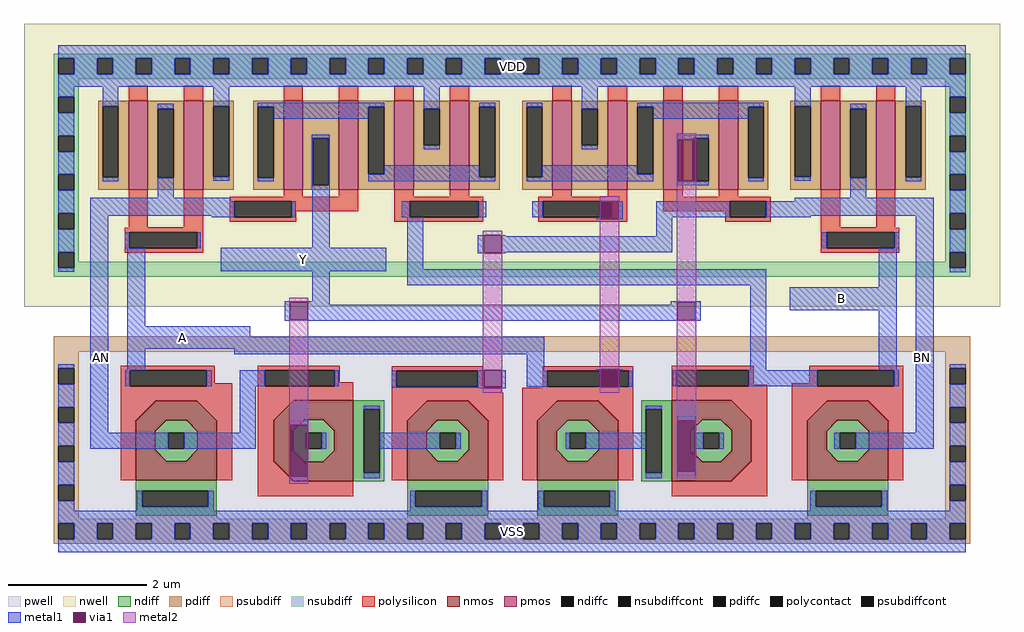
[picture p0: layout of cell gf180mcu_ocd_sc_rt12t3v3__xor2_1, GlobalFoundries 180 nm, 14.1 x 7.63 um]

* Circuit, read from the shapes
.subckt gf180mcu_ocd_sc_rt12t3v3__xor2_1 A B Y VDD VSS
XM1 AN A VSS VSS nfet_03v3 w=1.785u l=0.5341u
XM2 Y AN n1 VSS nfet_03v3 w=1.785u l=0.526u
XM3 n1 BN VSS VSS nfet_03v3 w=1.775u l=0.5425u
XM4 n2 A VSS VSS nfet_03v3 w=1.785u l=0.5301u
XM5 Y B n2 VSS nfet_03v3 w=1.785u l=0.539u
XM6 BN B VSS VSS nfet_03v3 w=1.785u l=0.5303u
XM7 AN A VDD VDD pfet_03v3 w=1.285u l=0.28u m=2
XM8 Y AN n3 VDD pfet_03v3 w=1.285u l=0.28u m=2
XM9 VDD B n3 VDD pfet_03v3 w=1.285u l=0.28u m=2
XM10 VDD A n4 VDD pfet_03v3 w=1.285u l=0.28u m=2
XM11 Y BN n4 VDD pfet_03v3 w=1.285u l=0.28u m=2
XM12 BN B VDD VDD pfet_03v3 w=1.285u l=0.28u m=2
.ends

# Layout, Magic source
magic
tech gf180mcuD
magscale 1 10
<< nwell >>
rect -122 649 2698 1466
<< pwell >>
rect -36 -36 2612 563
<< nmos >>
tri 201 319 259 377 se
rect 259 321 377 377
rect 259 319 287 321
tri 287 319 289 321 nw
tri 347 319 349 321 ne
rect 349 319 377 321
tri 377 319 435 377 sw
rect 201 203 257 319
tri 257 289 287 319 nw
tri 349 289 379 319 ne
tri 257 203 289 235 sw
tri 347 203 379 235 se
rect 379 203 435 319
rect 201 147 435 203
tri 600 321 658 379 se
rect 658 323 830 379
rect 600 293 658 321
tri 658 293 688 323 nw
rect 600 231 656 293
tri 656 291 658 293 nw
tri 742 291 774 323 ne
tri 656 231 658 233 sw
rect 600 203 658 231
tri 600 145 658 203 ne
tri 658 201 688 231 sw
tri 742 201 774 233 se
rect 774 201 830 323
rect 658 145 830 201
tri 985 319 1043 377 se
rect 1043 321 1161 377
rect 1043 319 1071 321
tri 1071 319 1073 321 nw
tri 1131 319 1133 321 ne
rect 1133 319 1161 321
tri 1161 319 1219 377 sw
rect 985 203 1041 319
tri 1041 289 1071 319 nw
tri 1133 289 1163 319 ne
tri 1041 203 1073 235 sw
tri 1131 203 1163 235 se
rect 1163 203 1219 319
rect 985 147 1219 203
tri 1363 321 1419 377 se
rect 1419 321 1537 377
tri 1361 319 1363 321 se
rect 1363 319 1417 321
rect 1361 203 1417 319
tri 1417 289 1449 321 nw
tri 1507 319 1509 321 ne
rect 1509 319 1537 321
tri 1537 319 1595 377 sw
tri 1509 289 1539 319 ne
tri 1417 203 1449 235 sw
tri 1507 203 1539 235 se
rect 1539 203 1595 319
rect 1361 147 1595 203
rect 1749 323 1921 379
rect 1749 201 1805 323
tri 1805 291 1837 323 nw
tri 1891 293 1921 323 ne
tri 1921 321 1979 379 sw
rect 1921 293 1979 321
tri 1921 291 1923 293 ne
tri 1805 201 1837 233 sw
tri 1921 231 1923 233 se
rect 1923 231 1979 293
tri 1891 201 1921 231 se
rect 1921 203 1979 231
rect 1749 145 1921 201
tri 1921 145 1979 203 nw
tri 2141 319 2199 377 se
rect 2199 321 2317 377
rect 2199 319 2227 321
tri 2227 319 2229 321 nw
tri 2287 319 2289 321 ne
rect 2289 319 2317 321
tri 2317 319 2375 377 sw
rect 2141 203 2197 319
tri 2197 289 2227 319 nw
tri 2289 289 2319 319 ne
tri 2197 203 2229 235 sw
tri 2287 203 2319 235 se
rect 2319 203 2375 319
rect 2141 147 2375 203
<< pmos >>
rect 180 987 236 1244
rect 340 987 396 1244
rect 628 987 684 1244
rect 788 987 844 1244
rect 948 987 1004 1244
rect 1108 987 1164 1244
rect 1405 987 1461 1244
rect 1565 987 1621 1244
rect 1725 987 1781 1244
rect 1885 987 1941 1244
rect 2180 987 2236 1244
rect 2340 987 2396 1244
<< ndiff >>
tri 287 319 289 321 se
rect 289 319 347 321
tri 347 319 349 321 sw
tri 257 289 287 319 se
rect 287 289 349 319
tri 349 289 379 319 sw
rect 257 285 379 289
rect 257 239 295 285
rect 341 239 379 285
rect 257 235 379 239
tri 257 203 289 235 ne
rect 289 203 347 235
tri 347 203 379 235 nw
rect 201 117 435 147
rect 201 71 220 117
rect 411 71 435 117
rect 830 352 919 379
tri 658 293 688 323 se
rect 688 293 742 323
tri 656 291 658 293 se
rect 658 291 742 293
tri 742 291 774 323 sw
rect 656 285 774 291
rect 656 239 692 285
rect 738 239 774 285
rect 656 233 774 239
tri 656 231 658 233 ne
rect 658 231 742 233
tri 658 201 688 231 ne
rect 688 201 742 231
tri 742 201 774 233 nw
rect 830 169 860 352
rect 906 169 919 352
rect 830 145 919 169
tri 1071 319 1073 321 se
rect 1073 319 1131 321
tri 1131 319 1133 321 sw
tri 1041 289 1071 319 se
rect 1071 289 1133 319
tri 1133 289 1163 319 sw
rect 1041 285 1163 289
rect 1041 239 1079 285
rect 1125 239 1163 285
rect 1041 235 1163 239
tri 1041 203 1073 235 ne
rect 1073 203 1131 235
tri 1131 203 1163 235 nw
tri 1417 289 1449 321 se
rect 1449 319 1507 321
tri 1507 319 1509 321 sw
rect 1449 289 1509 319
tri 1509 289 1539 319 sw
rect 1417 285 1539 289
rect 1417 239 1455 285
rect 1501 239 1539 285
rect 1417 235 1539 239
tri 1417 203 1449 235 ne
rect 1449 203 1507 235
tri 1507 203 1539 235 nw
rect 1661 352 1749 379
rect 1661 169 1674 352
rect 1720 169 1749 352
tri 1805 291 1837 323 se
rect 1837 293 1891 323
tri 1891 293 1921 323 sw
rect 1837 291 1921 293
tri 1921 291 1923 293 sw
rect 1805 285 1923 291
rect 1805 239 1841 285
rect 1887 239 1923 285
rect 1805 233 1923 239
tri 1805 201 1837 233 ne
rect 1837 231 1921 233
tri 1921 231 1923 233 nw
rect 1837 201 1891 231
tri 1891 201 1921 231 nw
rect 985 117 1219 147
rect 201 47 435 71
rect 985 71 1009 117
rect 1200 71 1219 117
rect 985 47 1219 71
rect 1361 117 1595 147
rect 1661 145 1749 169
tri 2227 319 2229 321 se
rect 2229 319 2287 321
tri 2287 319 2289 321 sw
tri 2197 289 2227 319 se
rect 2227 289 2289 319
tri 2289 289 2319 319 sw
rect 2197 285 2319 289
rect 2197 239 2235 285
rect 2281 239 2319 285
rect 2197 235 2319 239
tri 2197 203 2229 235 ne
rect 2229 203 2287 235
tri 2287 203 2319 235 nw
rect 1361 71 1380 117
rect 1571 71 1595 117
rect 2141 117 2375 147
rect 1361 47 1595 71
rect 2141 71 2165 117
rect 2356 71 2375 117
rect 2141 47 2375 71
<< pdiff >>
rect 92 1228 180 1244
rect 92 1023 105 1228
rect 151 1023 180 1228
rect 92 987 180 1023
rect 236 1221 340 1244
rect 236 1022 265 1221
rect 311 1022 340 1221
rect 236 987 340 1022
rect 396 1228 484 1244
rect 396 1024 425 1228
rect 471 1024 484 1228
rect 396 987 484 1024
rect 540 1227 628 1244
rect 540 1022 553 1227
rect 599 1022 628 1227
rect 540 987 628 1022
rect 684 1135 788 1244
rect 684 1000 713 1135
rect 759 1000 788 1135
rect 684 987 788 1000
rect 844 1227 948 1244
rect 844 1032 873 1227
rect 919 1032 948 1227
rect 844 987 948 1032
rect 1004 1221 1108 1244
rect 1004 1115 1033 1221
rect 1079 1115 1108 1221
rect 1004 987 1108 1115
rect 1164 1227 1252 1244
rect 1164 1023 1193 1227
rect 1239 1023 1252 1227
rect 1164 987 1252 1023
rect 1317 1227 1405 1244
rect 1317 1023 1330 1227
rect 1376 1023 1405 1227
rect 1317 987 1405 1023
rect 1461 1221 1565 1244
rect 1461 1115 1490 1221
rect 1536 1115 1565 1221
rect 1461 987 1565 1115
rect 1621 1227 1725 1244
rect 1621 1032 1650 1227
rect 1696 1032 1725 1227
rect 1621 987 1725 1032
rect 1781 1135 1885 1244
rect 1781 1012 1810 1135
rect 1856 1012 1885 1135
rect 1781 987 1885 1012
rect 1941 1227 2029 1244
rect 1941 1022 1970 1227
rect 2016 1022 2029 1227
rect 1941 987 2029 1022
rect 2092 1228 2180 1244
rect 2092 1024 2105 1228
rect 2151 1024 2180 1228
rect 2092 987 2180 1024
rect 2236 1221 2340 1244
rect 2236 1022 2265 1221
rect 2311 1022 2340 1221
rect 2236 987 2340 1022
rect 2396 1228 2484 1244
rect 2396 1023 2425 1228
rect 2471 1023 2484 1228
rect 2396 987 2484 1023
<< ndiffc >>
rect 295 239 341 285
rect 220 71 411 117
rect 692 239 738 285
rect 860 169 906 352
rect 1079 239 1125 285
rect 1455 239 1501 285
rect 1674 169 1720 352
rect 1841 239 1887 285
rect 1009 71 1200 117
rect 2235 239 2281 285
rect 1380 71 1571 117
rect 2165 71 2356 117
<< pdiffc >>
rect 105 1023 151 1228
rect 265 1022 311 1221
rect 425 1024 471 1228
rect 553 1022 599 1227
rect 713 1000 759 1135
rect 873 1032 919 1227
rect 1033 1115 1079 1221
rect 1193 1023 1239 1227
rect 1330 1023 1376 1227
rect 1490 1115 1536 1221
rect 1650 1032 1696 1227
rect 1810 1012 1856 1135
rect 1970 1022 2016 1227
rect 2105 1024 2151 1228
rect 2265 1022 2311 1221
rect 2425 1023 2471 1228
<< psubdiff >>
rect -36 519 2612 563
rect -36 471 36 519
rect -36 425 -23 471
rect 23 425 36 471
rect -36 359 36 425
rect -36 313 -23 359
rect 23 313 36 359
rect -36 247 36 313
rect -36 201 -23 247
rect 23 201 36 247
rect -36 135 36 201
rect -36 89 -23 135
rect 23 89 36 135
rect -36 36 36 89
rect 201 36 435 47
rect 985 36 1219 47
rect 2540 471 2612 519
rect 2540 425 2553 471
rect 2599 425 2612 471
rect 2540 359 2612 425
rect 2540 313 2553 359
rect 2599 313 2612 359
rect 2540 247 2612 313
rect 2540 201 2553 247
rect 2599 201 2612 247
rect 1361 36 1595 47
rect 2141 36 2375 47
rect 2540 135 2612 201
rect 2540 89 2553 135
rect 2599 89 2612 135
rect 2540 36 2612 89
rect -36 23 2612 36
rect -36 -23 -23 23
rect 23 -23 89 23
rect 135 -23 201 23
rect 247 -23 313 23
rect 359 -23 425 23
rect 471 -23 537 23
rect 583 -23 649 23
rect 695 -23 761 23
rect 807 -23 873 23
rect 919 -23 985 23
rect 1031 -23 1097 23
rect 1143 -23 1209 23
rect 1255 -23 1321 23
rect 1367 -23 1433 23
rect 1479 -23 1545 23
rect 1591 -23 1657 23
rect 1703 -23 1769 23
rect 1815 -23 1881 23
rect 1927 -23 1993 23
rect 2039 -23 2105 23
rect 2151 -23 2217 23
rect 2263 -23 2329 23
rect 2375 -23 2441 23
rect 2487 -23 2553 23
rect 2599 -23 2612 23
rect -36 -36 2612 -23
<< nsubdiff >>
rect -36 1367 2612 1380
rect -36 1321 -23 1367
rect 23 1321 89 1367
rect 135 1321 201 1367
rect 247 1321 313 1367
rect 359 1321 425 1367
rect 471 1321 537 1367
rect 583 1321 649 1367
rect 695 1321 761 1367
rect 807 1321 873 1367
rect 919 1321 985 1367
rect 1031 1321 1097 1367
rect 1143 1321 1209 1367
rect 1255 1321 1321 1367
rect 1367 1321 1433 1367
rect 1479 1321 1545 1367
rect 1591 1321 1657 1367
rect 1703 1321 1769 1367
rect 1815 1321 1881 1367
rect 1927 1321 1993 1367
rect 2039 1321 2105 1367
rect 2151 1321 2217 1367
rect 2263 1321 2329 1367
rect 2375 1321 2441 1367
rect 2487 1321 2553 1367
rect 2599 1321 2612 1367
rect -36 1308 2612 1321
rect -36 1255 36 1308
rect -36 1209 -23 1255
rect 23 1209 36 1255
rect 2540 1255 2612 1308
rect -36 1143 36 1209
rect -36 1097 -23 1143
rect 23 1097 36 1143
rect -36 1031 36 1097
rect -36 985 -23 1031
rect 23 985 36 1031
rect 2540 1209 2553 1255
rect 2599 1209 2612 1255
rect 2540 1143 2612 1209
rect 2540 1097 2553 1143
rect 2599 1097 2612 1143
rect 2540 1031 2612 1097
rect -36 919 36 985
rect -36 873 -23 919
rect 23 873 36 919
rect -36 807 36 873
rect -36 761 -23 807
rect 23 779 36 807
rect 2540 985 2553 1031
rect 2599 985 2612 1031
rect 2540 919 2612 985
rect 2540 873 2553 919
rect 2599 873 2612 919
rect 2540 807 2612 873
rect 2540 779 2553 807
rect 23 761 2553 779
rect 2599 761 2612 807
rect -36 735 2612 761
<< psubdiffcont >>
rect -23 425 23 471
rect -23 313 23 359
rect -23 201 23 247
rect -23 89 23 135
rect 2553 425 2599 471
rect 2553 313 2599 359
rect 2553 201 2599 247
rect 2553 89 2599 135
rect -23 -23 23 23
rect 89 -23 135 23
rect 201 -23 247 23
rect 313 -23 359 23
rect 425 -23 471 23
rect 537 -23 583 23
rect 649 -23 695 23
rect 761 -23 807 23
rect 873 -23 919 23
rect 985 -23 1031 23
rect 1097 -23 1143 23
rect 1209 -23 1255 23
rect 1321 -23 1367 23
rect 1433 -23 1479 23
rect 1545 -23 1591 23
rect 1657 -23 1703 23
rect 1769 -23 1815 23
rect 1881 -23 1927 23
rect 1993 -23 2039 23
rect 2105 -23 2151 23
rect 2217 -23 2263 23
rect 2329 -23 2375 23
rect 2441 -23 2487 23
rect 2553 -23 2599 23
<< nsubdiffcont >>
rect -23 1321 23 1367
rect 89 1321 135 1367
rect 201 1321 247 1367
rect 313 1321 359 1367
rect 425 1321 471 1367
rect 537 1321 583 1367
rect 649 1321 695 1367
rect 761 1321 807 1367
rect 873 1321 919 1367
rect 985 1321 1031 1367
rect 1097 1321 1143 1367
rect 1209 1321 1255 1367
rect 1321 1321 1367 1367
rect 1433 1321 1479 1367
rect 1545 1321 1591 1367
rect 1657 1321 1703 1367
rect 1769 1321 1815 1367
rect 1881 1321 1927 1367
rect 1993 1321 2039 1367
rect 2105 1321 2151 1367
rect 2217 1321 2263 1367
rect 2329 1321 2375 1367
rect 2441 1321 2487 1367
rect 2553 1321 2599 1367
rect -23 1209 23 1255
rect -23 1097 23 1143
rect -23 985 23 1031
rect 2553 1209 2599 1255
rect 2553 1097 2599 1143
rect -23 873 23 919
rect -23 761 23 807
rect 2553 985 2599 1031
rect 2553 873 2599 919
rect 2553 761 2599 807
<< polysilicon >>
rect 180 1244 236 1288
rect 340 1244 396 1288
rect 628 1244 684 1288
rect 788 1244 844 1288
rect 948 1244 1004 1288
rect 1108 1244 1164 1288
rect 1405 1244 1461 1288
rect 1565 1244 1621 1288
rect 1725 1244 1781 1288
rect 1885 1244 1941 1288
rect 2180 1244 2236 1288
rect 2340 1244 2396 1288
rect 180 878 236 987
rect 340 878 396 987
rect 628 967 684 987
rect 788 967 844 987
rect 473 954 844 967
rect 473 908 486 954
rect 652 925 844 954
rect 948 967 1004 987
rect 1108 967 1164 987
rect 1405 967 1461 987
rect 1565 967 1621 987
rect 948 954 1205 967
rect 652 908 665 925
rect 473 895 665 908
rect 948 908 993 954
rect 1192 908 1205 954
rect 948 895 1205 908
rect 1364 954 1621 967
rect 1364 908 1377 954
rect 1576 908 1621 954
rect 1725 967 1781 987
rect 1885 967 1941 987
rect 1725 954 2036 967
rect 1725 925 1917 954
rect 1364 895 1621 908
rect 1904 908 1917 925
rect 2023 908 2036 954
rect 1904 895 2036 908
rect 180 877 396 878
rect 169 864 396 877
rect 169 818 182 864
rect 378 818 396 864
rect 169 805 396 818
rect 2180 878 2236 987
rect 2340 878 2396 987
rect 2180 877 2396 878
rect 2180 864 2407 877
rect 2180 818 2198 864
rect 2394 818 2407 864
rect 2180 805 2407 818
rect 157 465 429 478
rect 157 419 184 465
rect 406 428 429 465
rect 553 465 790 478
rect 406 419 479 428
rect 157 377 479 419
rect 157 147 201 377
tri 201 319 259 377 nw
tri 377 319 435 377 ne
rect 435 147 479 377
rect 553 419 574 465
rect 776 430 790 465
rect 941 464 1203 477
rect 776 419 830 430
rect 553 379 830 419
rect 941 418 954 464
rect 1189 419 1203 464
rect 1377 464 1639 477
rect 1189 418 1257 419
rect 941 400 1257 418
rect 1377 418 1390 464
rect 1626 418 1639 464
rect 1377 415 1639 418
rect 553 145 600 379
tri 600 321 658 379 nw
tri 600 145 658 203 sw
rect 941 377 1263 400
rect 941 147 985 377
tri 985 319 1043 377 nw
tri 1161 319 1219 377 ne
rect 1219 147 1263 377
rect 1317 377 1639 415
rect 1749 465 1986 478
rect 1749 419 1763 465
rect 1972 423 1986 465
rect 2147 465 2419 478
rect 2147 428 2170 465
rect 1972 419 2026 423
rect 1749 379 2026 419
rect 1317 321 1363 377
tri 1363 321 1419 377 nw
rect 1317 147 1361 321
tri 1361 319 1363 321 nw
tri 1537 319 1595 377 ne
rect 1595 147 1639 377
tri 1921 321 1979 379 ne
rect 553 101 830 145
tri 1921 145 1979 203 se
rect 1979 145 2026 379
rect 2097 419 2170 428
rect 2392 419 2419 465
rect 2097 377 2419 419
rect 2097 147 2141 377
tri 2141 319 2199 377 nw
tri 2317 319 2375 377 ne
rect 2375 147 2419 377
rect 1749 101 2026 145
<< polycontact >>
rect 486 908 652 954
rect 993 908 1192 954
rect 1377 908 1576 954
rect 1917 908 2023 954
rect 182 818 378 864
rect 2198 818 2394 864
rect 184 419 406 465
rect 574 419 776 465
rect 954 418 1189 464
rect 1390 418 1626 464
rect 1763 419 1972 465
rect 2170 419 2392 465
<< metal1 >>
rect -23 1367 2599 1404
rect 23 1321 89 1367
rect 135 1321 201 1367
rect 247 1321 313 1367
rect 359 1321 425 1367
rect 471 1321 537 1367
rect 583 1321 649 1367
rect 695 1321 761 1367
rect 807 1321 873 1367
rect 919 1321 985 1367
rect 1031 1321 1097 1367
rect 1143 1321 1209 1367
rect 1255 1321 1321 1367
rect 1367 1321 1433 1367
rect 1479 1321 1545 1367
rect 1591 1321 1657 1367
rect 1703 1321 1769 1367
rect 1815 1321 1881 1367
rect 1927 1321 1993 1367
rect 2039 1321 2105 1367
rect 2151 1321 2217 1367
rect 2263 1321 2329 1367
rect 2375 1321 2441 1367
rect 2487 1321 2553 1367
rect -23 1284 2599 1321
rect -23 1255 23 1284
rect -23 1143 23 1209
rect -23 1031 23 1097
rect 105 1228 151 1284
rect 105 1012 151 1023
rect 265 1221 311 1236
rect -23 919 23 985
rect 265 964 311 1022
rect 425 1228 471 1284
rect 425 1013 471 1024
rect 553 1227 919 1238
rect 599 1192 873 1227
rect 553 1011 599 1022
rect 710 1135 762 1146
rect 710 1000 713 1135
rect 759 1000 762 1135
rect 1033 1221 1079 1284
rect 1033 1104 1079 1115
rect 1193 1227 1239 1238
rect 919 1032 1193 1058
rect 873 1023 1193 1032
rect 873 1012 1239 1023
rect 1330 1227 1376 1238
rect 1490 1221 1536 1284
rect 1490 1104 1536 1115
rect 1650 1227 2016 1238
rect 1376 1032 1650 1058
rect 1696 1192 1970 1227
rect 1376 1023 1696 1032
rect 1330 1012 1696 1023
rect 1766 1135 1856 1146
rect 1766 1133 1810 1135
rect 1766 1000 1856 1012
rect 1970 1011 2016 1022
rect 2105 1228 2151 1284
rect 2105 1013 2151 1024
rect 2265 1221 2311 1236
rect 710 989 762 1000
rect -23 807 23 873
rect -23 750 23 761
rect 69 954 476 964
rect 69 912 486 954
rect -23 471 23 482
rect -23 359 23 425
rect -23 247 23 313
rect 69 285 121 912
rect 420 908 486 912
rect 652 908 663 954
rect 169 818 182 864
rect 378 818 389 864
rect 711 819 762 989
rect 2265 964 2311 1022
rect 2425 1228 2471 1284
rect 2425 1012 2471 1023
rect 2553 1255 2599 1284
rect 2553 1143 2599 1209
rect 2553 1031 2599 1097
rect 2105 954 2507 964
rect 970 908 993 954
rect 1192 908 1214 954
rect 1347 908 1377 954
rect 176 593 228 818
rect 447 752 925 819
rect 986 757 1032 908
rect 1532 902 1544 908
rect 1596 902 1608 954
rect 1705 908 1917 954
rect 2023 912 2507 954
rect 2023 908 2151 912
rect 1189 804 1206 856
rect 1258 853 1270 856
rect 1705 853 1751 908
rect 1258 807 1751 853
rect 2181 818 2198 864
rect 2394 818 2407 864
rect 1258 804 1270 807
rect 711 665 762 752
rect 986 711 2023 757
rect 632 663 762 665
rect 632 611 646 663
rect 698 654 762 663
rect 1746 662 1833 664
rect 1746 654 1766 662
rect 698 611 1766 654
rect 632 610 1766 611
rect 1818 610 1833 662
rect 632 608 1833 610
rect 176 562 532 593
rect 176 527 1381 562
rect 176 465 228 527
rect 486 511 1381 527
rect 170 419 184 465
rect 406 419 421 465
rect 502 419 574 465
rect 776 419 788 465
rect 1194 464 1206 465
rect 502 285 548 419
rect 941 418 954 464
rect 1189 418 1206 464
rect 941 415 1206 418
rect 1194 413 1206 415
rect 1258 413 1270 465
rect 1331 464 1381 511
rect 1532 464 1544 468
rect 1596 464 1608 468
rect 1977 465 2023 711
rect 2348 705 2400 818
rect 2090 639 2400 705
rect 2348 465 2400 639
rect 1331 418 1390 464
rect 1626 418 1637 464
rect 1752 419 1763 465
rect 1972 419 2170 465
rect 2392 419 2406 465
rect 1532 416 1544 418
rect 1596 416 1608 418
rect 860 352 906 363
rect 69 239 295 285
rect 341 239 548 285
rect 646 308 698 320
rect 738 239 752 285
rect -23 135 23 201
rect 646 146 698 158
rect 1674 352 1720 363
rect 906 239 1079 285
rect 1125 239 1140 285
rect 1444 239 1455 285
rect 1501 239 1674 285
rect 860 154 906 169
rect 1674 154 1720 169
rect 1766 321 1818 333
rect 2455 285 2507 912
rect 2553 919 2599 985
rect 2553 807 2599 873
rect 2553 749 2599 761
rect 1818 239 1841 285
rect 1887 239 1900 285
rect 2219 239 2235 285
rect 2281 239 2507 285
rect 2553 471 2599 482
rect 2553 359 2599 425
rect 2553 247 2599 313
rect 1766 160 1818 172
rect 2553 135 2599 201
rect -23 60 23 89
rect 204 71 220 117
rect 411 71 426 117
rect 204 60 426 71
rect 994 71 1009 117
rect 1200 71 1216 117
rect 994 60 1216 71
rect 1364 71 1380 117
rect 1571 71 1586 117
rect 1364 60 1586 71
rect 2150 71 2165 117
rect 2356 71 2372 117
rect 2150 60 2372 71
rect 2553 60 2599 89
rect -23 23 2599 60
rect 23 -23 89 23
rect 135 -23 201 23
rect 247 -23 313 23
rect 359 -23 425 23
rect 471 -23 537 23
rect 583 -23 649 23
rect 695 -23 761 23
rect 807 -23 873 23
rect 919 -23 985 23
rect 1031 -23 1097 23
rect 1143 -23 1209 23
rect 1255 -23 1321 23
rect 1367 -23 1433 23
rect 1479 -23 1545 23
rect 1591 -23 1657 23
rect 1703 -23 1769 23
rect 1815 -23 1881 23
rect 1927 -23 1993 23
rect 2039 -23 2105 23
rect 2151 -23 2217 23
rect 2263 -23 2329 23
rect 2375 -23 2441 23
rect 2487 -23 2553 23
rect -23 -60 2599 -23
<< via1 >>
rect 1766 1012 1810 1133
rect 1810 1012 1818 1133
rect 1544 908 1576 954
rect 1576 908 1596 954
rect 1544 902 1596 908
rect 1206 804 1258 856
rect 646 611 698 663
rect 1766 610 1818 662
rect 1206 413 1258 465
rect 1544 464 1596 468
rect 1544 418 1596 464
rect 1544 416 1596 418
rect 646 285 698 308
rect 646 239 692 285
rect 692 239 698 285
rect 646 158 698 239
rect 1766 172 1818 321
<< metal2 >>
rect 1764 1133 1820 1150
rect 1764 1012 1766 1133
rect 1818 1012 1820 1133
rect 1542 954 1598 968
rect 1542 902 1544 954
rect 1596 902 1598 954
rect 1204 856 1260 868
rect 1204 804 1206 856
rect 1258 804 1260 856
rect 644 663 700 675
rect 644 611 646 663
rect 698 611 700 663
rect 644 308 700 611
rect 1204 465 1260 804
rect 1204 413 1206 465
rect 1258 413 1260 465
rect 1204 401 1260 413
rect 1542 468 1598 902
rect 1542 416 1544 468
rect 1596 416 1598 468
rect 1542 400 1598 416
rect 1764 662 1820 1012
rect 1764 610 1766 662
rect 1818 610 1820 662
rect 644 158 646 308
rect 698 158 700 308
rect 644 138 700 158
rect 1764 321 1820 610
rect 1764 172 1766 321
rect 1818 172 1820 321
rect 1764 154 1820 172
<< labels >>
flabel metal1 s 0 1284 2576 1404 0 FreeSans 400 180 0 0 VDD
port 4 nsew power bidirectional abutment
flabel metal1 s 0 -60 2576 60 0 FreeSans 400 180 0 0 VSS
port 5 nsew ground bidirectional abutment
flabel metal1 2475 502 2475 502 0 FreeSans 320 90 0 0 BN
flabel metal1 101 502 101 502 0 FreeSans 320 90 0 0 AN
flabel metal1 s 186 527 486 593 0 FreeSans 320 0 0 0 A
port 1 nsew signal input
flabel metal1 447 752 925 819 0 FreeSans 320 180 0 0 Y
port 3 nsew signal output
flabel metal1 s 2090 639 2390 705 0 FreeSans 320 180 0 0 B
port 2 nsew signal input
<< properties >>
string FIXED_BBOX 0 0 2576 1344
string LEFclass CORE
string LEFsite unithd
string LEFsymmetry X Y
string MASKHINTS_NPLUS 155 99 2421 425 -42 717 2618 797
string MASKHINTS_PPLUS -36 501 2612 581
<< end >>
